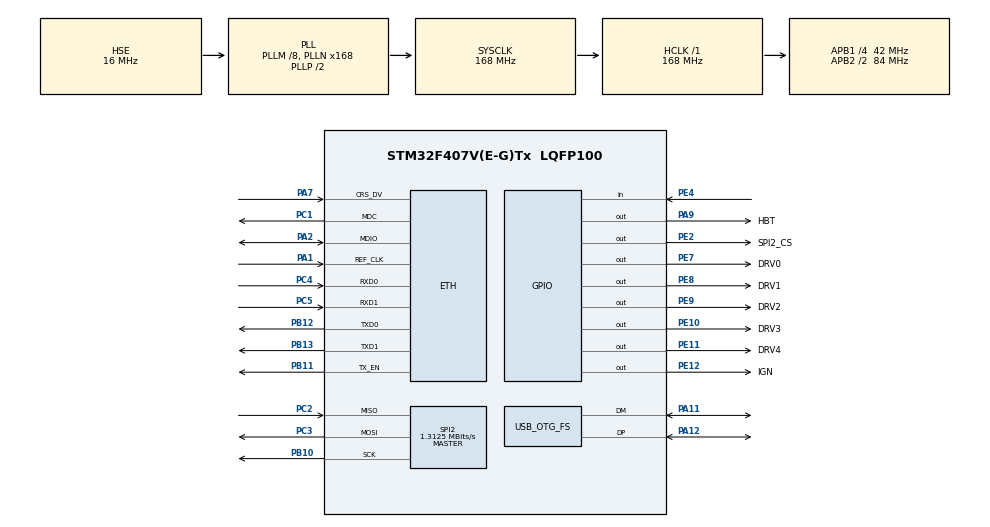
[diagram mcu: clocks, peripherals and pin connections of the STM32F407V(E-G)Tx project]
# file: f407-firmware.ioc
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ETH.MediaInterface=HAL_ETH_RMII_MODE
FREERTOS.Tasks01=defaultTask,24,256,StartDefaultTask,Default,NULL,Dynamic,NULL,NULL;serverTask,32,2048,StartServerTask,Default,NULL,Dynamic,NULL,NULL;cmdHandlingTask,41,256,StartCmdHandlingTask,Default,NULL,Dynamic,NULL,NULL;collectionTask,48,256,StartCollectionTask,Default,NULL,Dynamic,NULL,NULL
FREERTOS.configMINIMAL_STACK_SIZE=256
FREERTOS.configTOTAL_HEAP_SIZE=32768
FREERTOS.configUSE_NEWLIB_REENTRANT=1
LWIP.BSP.number=1
LWIP.CHECKSUM_BY_HARDWARE=1
LWIP.IP_ADDRESS=192.168.000.122
LWIP.LWIP_DHCP=0
LWIP.LWIP_DISABLE_TCP_SANITY_CHECKS=1
LWIP.LWIP_STATS=1
LWIP.LWIP_STATS_DISPLAY=1
LWIP.MEMP_OVERFLOW_CHECK=1
LWIP.MEM_OVERFLOW_CHECK=1
LWIP.MEM_SANITY_CHECK=1
LWIP.MEM_SIZE=10*1024
LWIP.MEM_STATS=1
LWIP.NETMASK_ADDRESS=255.255.255.000
LWIP.PBUF_POOL_BUFSIZE=1528
LWIP.TCP_MSS=1460
LWIP.TCP_SND_BUF=5840
LWIP.TCP_SND_QUEUELEN=16
LWIP.Version=v2.1.2_Cube
LWIP0.BSP.STBoard=false
LWIP0.BSP.api=BSP_COMPONENT_DRIVER
LWIP0.BSP.component=LAN8742
LWIP0.BSP.instance=LAN8742
LWIP0.BSP.name=Driver_PHY
LWIP0.BSP.semaphore=S_LAN8742
LWIP0.BSP.solution=LAN8742
Mcu.Family=STM32F4
Mcu.Name=STM32F407V(E-G)Tx
Mcu.Package=LQFP100
NVIC.ETH_IRQn=true\:5\:0\:false\:false\:true\:true\:false\:true\:true
NVIC.OTG_FS_IRQn=true\:5\:0\:false\:false\:true\:true\:false\:true\:true
NVIC.PriorityGroup=NVIC_PRIORITYGROUP_4
NVIC.TIM7_IRQn=true\:15\:0\:false\:false\:true\:false\:false\:true\:true
NVIC.TIM8_TRG_COM_TIM14_IRQn=true\:5\:0\:false\:false\:true\:true\:true\:true\:true
NVIC.TIM8_UP_TIM13_IRQn=true\:8\:0\:true\:false\:true\:true\:true\:true\:true
NVIC.TimeBase=TIM7_IRQn
NVIC.TimeBaseIP=TIM7
PA1.Mode=RMII
PA1.Signal=ETH_REF_CLK
PA11.Mode=Device_Only
PA11.Signal=USB_OTG_FS_DM
PA12.Mode=Device_Only
PA12.Signal=USB_OTG_FS_DP
PA13.Mode=Serial_Wire
PA13.Signal=SYS_JTMS-SWDIO
PA14.Mode=Serial_Wire
PA14.Signal=SYS_JTCK-SWCLK
PA2.Mode=RMII
PA2.Signal=ETH_MDIO
PA7.Mode=RMII
PA7.Signal=ETH_CRS_DV
PA9.GPIO_Label=HBT
PA9.Signal=GPIO_Output
PB10.Mode=Full_Duplex_Master
PB10.Signal=SPI2_SCK
PB11.Mode=RMII
PB11.Signal=ETH_TX_EN
PB12.Mode=RMII
PB12.Signal=ETH_TXD0
PB13.Mode=RMII
PB13.Signal=ETH_TXD1
PC1.GPIO_Speed=GPIO_SPEED_FREQ_LOW
PC1.Mode=RMII
PC1.Signal=ETH_MDC
PC14-OSC32_IN.Mode=LSE-External-Oscillator
PC14-OSC32_IN.Signal=RCC_OSC32_IN
PC15-OSC32_OUT.Mode=LSE-External-Oscillator
PC15-OSC32_OUT.Signal=RCC_OSC32_OUT
PC2.Mode=Full_Duplex_Master
PC2.Signal=SPI2_MISO
PC3.Mode=Full_Duplex_Master
PC3.Signal=SPI2_MOSI
PC4.Mode=RMII
PC4.Signal=ETH_RXD0
PC5.Mode=RMII
PC5.Signal=ETH_RXD1
PE10.GPIO_Label=DRV3
PE10.Signal=GPIO_Output
PE11.GPIO_Label=DRV4
PE11.Signal=GPIO_Output
PE12.GPIO_Label=IGN
PE12.Signal=GPIO_Output
PE2.GPIO_Label=SPI2_CS
PE2.Signal=GPIO_Output
PE4.Signal=GPIO_Input
PE7.GPIO_Label=DRV0
PE7.Signal=GPIO_Output
PE8.GPIO_Label=DRV1
PE8.Signal=GPIO_Output
PE9.GPIO_Label=DRV2
PE9.Signal=GPIO_Output
PH0-OSC_IN.Mode=HSE-External-Oscillator
PH0-OSC_IN.Signal=RCC_OSC_IN
PH1-OSC_OUT.Mode=HSE-External-Oscillator
PH1-OSC_OUT.Signal=RCC_OSC_OUT
ProjectManager.HeapSize=0x200
ProjectManager.StackSize=0x400
ProjectManager.TargetToolchain=STM32CubeIDE
RCC.48MHZClocksFreq_Value=48000000
RCC.AHBFreq_Value=168000000
RCC.APB1CLKDivider=RCC_HCLK_DIV4
RCC.APB1Freq_Value=42000000
RCC.APB1TimFreq_Value=84000000
RCC.APB2CLKDivider=RCC_HCLK_DIV2
RCC.APB2Freq_Value=84000000
RCC.APB2TimFreq_Value=168000000
RCC.CortexFreq_Value=168000000
RCC.HCLKFreq_Value=168000000
RCC.HSE_VALUE=16000000
RCC.HSI_VALUE=16000000
RCC.PLLM=8
RCC.PLLN=168
RCC.PLLQ=7
RCC.SYSCLKFreq_VALUE=168000000
RCC.SYSCLKSource=RCC_SYSCLKSOURCE_PLLCLK
RCC.VCOOutputFreq_Value=336000000
SPI2.BaudRatePrescaler=SPI_BAUDRATEPRESCALER_32
SPI2.CalculateBaudRate=1.3125 MBits/s
SPI2.Direction=SPI_DIRECTION_2LINES
SPI2.Mode=SPI_MODE_MASTER
SPI2.VirtualType=VM_MASTER
TIM13.Period=10000-1
TIM13.Prescaler=8400-1
TIM14.Period=20-1
TIM14.Prescaler=840-1
USB_DEVICE.CLASS_NAME_FS=CDC
USB_DEVICE.VirtualMode-CDC_FS=Cdc
USB_DEVICE.VirtualModeFS=Cdc_FS
USB_OTG_FS.VirtualMode=Device_Only
VP_FREERTOS_VS_CMSIS_V2.Mode=CMSIS_V2
VP_LWIP_VS_Enabled.Mode=Enabled
VP_RNG_VS_RNG.Mode=RNG_Activate
VP_SYS_VS_tim7.Mode=TIM7
VP_TIM13_VS_ClockSourceINT.Mode=Enable_Timer
VP_TIM14_VS_ClockSourceINT.Mode=Enable_Timer
VP_USB_DEVICE_VS_USB_DEVICE_CDC_FS.Mode=CDC_FS
board=custom

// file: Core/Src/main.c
/* USER CODE BEGIN Header */
/**
  ******************************************************************************
  * @file           : main.c
  * @brief          : Main program body
  ******************************************************************************
  * @attention
  *
  * Copyright (c) 2026 STMicroelectronics.
  * All rights reserved.
  *
  * This software is licensed under terms that can be found in the LICENSE file
  * in the root directory of this software component.
  * If no LICENSE file comes with this software, it is provided AS-IS.
  *
  ******************************************************************************
  */
/* USER CODE END Header */
#include "main.h"
#include "cmsis_os.h"
#include "lwip.h"
#include "rng.h"
#include "spi.h"
#include "tim.h"
#include "usb_device.h"
#include "gpio.h"

/* USER CODE BEGIN Includes */
#include "cJSON.h"
#include "interface.h"
#include <stdio.h>
#include <stdlib.h>
#include <string.h>
#include "usbd_cdc_if.h"
/* USER CODE END Includes */

/* USER CODE BEGIN PV */
uint8_t TxBuffer[300];
static char config_str[4000];
int counter;

/* USER CODE END PV */

void SystemClock_Config(void);
void MX_FREERTOS_Init(void);

/* USER CODE BEGIN 0 */
int port = 0;
int sampling_freq_ign = 0;
int sampling_freq_standby = 0;
char *console_filename = NULL;
char cmd_password[MAX_PWD_LENGTH];
char *data_filename = NULL;
char *cmd_buffer = NULL;
char host_ip[MAX_IP_LEN];
osEventFlagsId_t command_event;
int sensor_count = MAX_SENSOR_COUNT;
int driver_count = MAX_DRIVER_COUNT;
int monitor_count = MAX_MONITOR_COUNT;
driver driver_list[MAX_DRIVER_COUNT];
driver ignition;
monitor monitor_list[MAX_MONITOR_COUNT];
sensor sensor_list[MAX_SENSOR_COUNT];
/* USER CODE END 0 */

int main(void)
{

  /* MCU Configuration--------------------------------------------------------*/

  /* Reset of all peripherals, Initializes the Flash interface and the Systick. */
  HAL_Init();

  /* Configure the system clock */
  SystemClock_Config();

  /* Initialize all configured peripherals */
  MX_GPIO_Init();
  MX_SPI2_Init();
  MX_RNG_Init();
  MX_TIM13_Init();
  MX_TIM14_Init();
  /* USER CODE BEGIN 2 */
  /*Mount the sd card to read information from it*/
  HAL_Delay(1);
  //mount_sd_interface(&FatFs)
  /*parse the configuration file to get the available sensors and drivers */
   read_file_interface("config.json", config_str,4000);
   parse_config_interface(config_str, driver_list, sensor_list, monitor_list, &ignition, host_ip, cmd_password,
 		  	  	  	  &port, &sampling_freq_ign, &sampling_freq_standby, &driver_count, &sensor_count, &monitor_count);
  /*
  fres = (f_mount(&FatFs, "", 1));
  	if (fres != FR_OK){
  		sprintf((char *)txBuffer, "f_mount error (%i)\r\n", fres);
  		CDC_Transmit_FS(txBuffer,strlen((char *)txBuffer));
  	}else{
  		sprintf((char *)txBuffer, "SD Card Mounted Successfully! \r\n\n");
  		CDC_Transmit_FS(txBuffer, strlen((char *)txBuffer));
  	}
  	fres = f_open(&Fil, "MyTextFile.txt", FA_WRITE | FA_READ | FA_CREATE_ALWAYS);
  	    if(fres != FR_OK)
  	    {
  	      sprintf((char *)txBuffer, "Error! While Creating/Opening A New Text File, Error Code: (%i)\r\n", fres);
  	      CDC_Transmit_FS(txBuffer, strlen((char *)txBuffer));

  	    } else{
  	    	strcpy(RW_Buffer, "Hello! From STM32 To SD Card Over SDIO, Using f_write()\r\n");
  	    	 f_write(&Fil, RW_Buffer, strlen(RW_Buffer), &WWC);
  	    }
  	    f_close(&Fil);
  	    read_file(&config_file, "config.json", config_str, 4000);
  */

  /* USER CODE END 2 */

  /* Init scheduler */
  osKernelInitialize();  /* Call init function for freertos objects (in cmsis_os2.c) */
  MX_FREERTOS_Init();

  /* Start scheduler */
  osKernelStart();

  /* We should never get here as control is now taken by the scheduler */

  /* Infinite loop */
  /* USER CODE BEGIN WHILE */
  while (1)
  {
	  /*
	 HAL_GPIO_WritePin(HBT_GPIO_Port, HBT_Pin, GPIO_PIN_SET);
	 HAL_Delay(500);
	 HAL_GPIO_WritePin(HBT_GPIO_Port, HBT_Pin, GPIO_PIN_RESET);
	 HAL_Delay(500);
	 */
	  /*
	 float lc_voltage = get_sensorval(1, SPI2_CS_Pin);
	 if (counter == 0)
		 CDC_Transmit_FS(txBuffer, sprintf((char *)txBuffer, "%f\r\n",lc_voltage));
	 HAL_Delay(1);
	 counter = (counter+1)%400;
	 */

    /* USER CODE END WHILE */

  }
}

void SystemClock_Config(void)
{
  RCC_OscInitTypeDef RCC_OscInitStruct = {0};
  RCC_ClkInitTypeDef RCC_ClkInitStruct = {0};

  /** Configure the main internal regulator output voltage
  */
  __HAL_RCC_PWR_CLK_ENABLE();
  __HAL_PWR_VOLTAGESCALING_CONFIG(PWR_REGULATOR_VOLTAGE_SCALE1);

  /** Initializes the RCC Oscillators according to the specified parameters
  * in the RCC_OscInitTypeDef structure.
  */
  RCC_OscInitStruct.OscillatorType = RCC_OSCILLATORTYPE_HSE;
  RCC_OscInitStruct.HSEState = RCC_HSE_ON;
  RCC_OscInitStruct.PLL.PLLState = RCC_PLL_ON;
  RCC_OscInitStruct.PLL.PLLSource = RCC_PLLSOURCE_HSE;
  RCC_OscInitStruct.PLL.PLLM = 8;
  RCC_OscInitStruct.PLL.PLLN = 168;
  RCC_OscInitStruct.PLL.PLLP = RCC_PLLP_DIV2;
  RCC_OscInitStruct.PLL.PLLQ = 7;
  if (HAL_RCC_OscConfig(&RCC_OscInitStruct) != HAL_OK)
  {
    Error_Handler();
  }

  /** Initializes the CPU, AHB and APB buses clocks
  */
  RCC_ClkInitStruct.ClockType = RCC_CLOCKTYPE_HCLK|RCC_CLOCKTYPE_SYSCLK
                              |RCC_CLOCKTYPE_PCLK1|RCC_CLOCKTYPE_PCLK2;
  RCC_ClkInitStruct.SYSCLKSource = RCC_SYSCLKSOURCE_PLLCLK;
  RCC_ClkInitStruct.AHBCLKDivider = RCC_SYSCLK_DIV1;
  RCC_ClkInitStruct.APB1CLKDivider = RCC_HCLK_DIV4;
  RCC_ClkInitStruct.APB2CLKDivider = RCC_HCLK_DIV2;

  if (HAL_RCC_ClockConfig(&RCC_ClkInitStruct, FLASH_LATENCY_5) != HAL_OK)
  {
    Error_Handler();
  }
}

/* USER CODE BEGIN 4 */
void print_buffer(char *buffer, int buf_len){
	CDC_Transmit_FS((uint8_t *)buffer,buf_len);
	return;
}

/* USER CODE END 4 */

void Error_Handler(void)
{
  __disable_irq();
  while (1)
  {
  }
}

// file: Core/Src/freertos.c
/* USER CODE BEGIN Header */
/**
  ******************************************************************************
  * File Name          : freertos.c
  * Description        : Code for freertos applications
  ******************************************************************************
  * @attention
  *
  * Copyright (c) 2026 STMicroelectronics.
  * All rights reserved.
  *
  * This software is licensed under terms that can be found in the LICENSE file
  * in the root directory of this software component.
  * If no LICENSE file comes with this software, it is provided AS-IS.
  *
  ******************************************************************************
  */
/* USER CODE END Header */

#include "FreeRTOS.h"
#include "task.h"
#include "main.h"
#include "cmsis_os.h"

/* USER CODE BEGIN Includes */
#include "mongoose.h"
#include "lwip.h"
#include "interface.h"
#include "tim.h"
#include "usbd_cdc_if.h"
#include "lwip/netif.h"
#include "lwip/ip4_addr.h"
#include "lan8742.h"
/* USER CODE END Includes */

/* USER CODE BEGIN PTD */
typedef struct{
	char cmd_buf[200];
	uint8_t cmd_idx;
} CMDQUEUE_OBJ_T;
/* USER CODE END PTD */

/* USER CODE BEGIN PD */
#define MAX_CMD_BACKLOG 10
#define FIRST_BUF_READY (1 << 0)
#define SECOND_BUF_READY (1 << 1)
#define SAMPLE_NOW (1 << 2)
#define SEND_NOW (1 << 7)

/* USER CODE END PD */

/* USER CODE BEGIN Variables */
uint8_t current_cmd_idx;
static char TxBuffer[300];
static char sensor_data_str[4000];
//Ping-pong buffer for data to write to sd
float sensor_vals[2*MAX_SENSOR_COUNT];
int driver_states[MAX_DRIVER_COUNT];
//the snapshot of sensor vals to send to mission control
//pointer to the 'last filled buffer'
float *filled_buffer;
float vals_to_send[MAX_SENSOR_COUNT];
int driver_states_to_send[MAX_DRIVER_COUNT];

osMessageQueueId_t cmdMessageQueueHandle;
const osMessageQueueAttr_t cmdMessageQueue_attributes = {
  .name = "cmdMessageQueue"
};
/* USER CODE END Variables */
/* Definitions for defaultTask */
osThreadId_t defaultTaskHandle;
const osThreadAttr_t defaultTask_attributes = {
  .name = "defaultTask",
  .stack_size = 256 * 4,
  .priority = (osPriority_t) osPriorityNormal,
};
/* Definitions for serverTask */
osThreadId_t serverTaskHandle;
const osThreadAttr_t serverTask_attributes = {
  .name = "serverTask",
  .stack_size = 2048 * 4,
  .priority = (osPriority_t) osPriorityAboveNormal,
};
/* Definitions for cmdHandlingTask */
osThreadId_t cmdHandlingTaskHandle;
const osThreadAttr_t cmdHandlingTask_attributes = {
  .name = "cmdHandlingTask",
  .stack_size = 256 * 4,
  .priority = (osPriority_t) osPriorityHigh,
};
/* Definitions for collectionTask */
osThreadId_t collectionTaskHandle;
const osThreadAttr_t collectionTask_attributes = {
  .name = "collectionTask",
  .stack_size = 256 * 4,
  .priority = (osPriority_t) osPriorityHigh1,
};

/* USER CODE BEGIN FunctionPrototypes */
void fn(struct mg_connection *c, int ev, void *ev_data);
void mg_random(void *buf, size_t len);
void print_lwip_stats(void);
void print_link_debug(void);

/* USER CODE END FunctionPrototypes */

void StartDefaultTask(void *argument);
void StartServerTask(void *argument);
void StartCmdHandlingTask(void *argument);
void StartCollectionTask(void *argument);

extern void MX_LWIP_Init(void);
extern void MX_USB_DEVICE_Init(void);
void MX_FREERTOS_Init(void); /* (MISRA C 2004 rule 8.1) */

void MX_FREERTOS_Init(void) {

  /* USER CODE BEGIN RTOS_QUEUES */
	 cmdMessageQueueHandle = osMessageQueueNew (MAX_CMD_BACKLOG, sizeof(CMDQUEUE_OBJ_T), &cmdMessageQueue_attributes);
  /* USER CODE END RTOS_QUEUES */

  /* Create the thread(s) */
  /* creation of defaultTask */
  defaultTaskHandle = osThreadNew(StartDefaultTask, NULL, &defaultTask_attributes);

  /* creation of serverTask */
  //serverTaskHandle = osThreadNew(StartServerTask, NULL, &serverTask_attributes);

  /* creation of cmdHandlingTask */
  //cmdHandlingTaskHandle = osThreadNew(StartCmdHandlingTask, NULL, &cmdHandlingTask_attributes);

  /* creation of collectionTask */
  //collectionTaskHandle = osThreadNew(StartCollectionTask, NULL, &collectionTask_attributes);

  /* USER CODE BEGIN RTOS_THREADS */
  //debuggingTaskHandle = osThreadNew(StartDebuggingTask, NULL, &debuggingTask_attributes);
  /* USER CODE END RTOS_THREADS */

}

void StartDefaultTask(void *argument)
{
  /* init code for LWIP */
  MX_LWIP_Init();

  /* init code for USB_DEVICE */
  MX_USB_DEVICE_Init();
  /* USER CODE BEGIN StartDefaultTask */
  extern struct netif gnetif;
   while(ip4_addr_isany_val(*netif_ip4_addr(&gnetif)))
  	  osDelay(200);
    MG_INFO(("READY, IP: %s", ip4addr_ntoa(netif_ip4_addr(&gnetif))));
    serverTaskHandle = osThreadNew(StartServerTask, NULL, &serverTask_attributes);
     cmdHandlingTaskHandle = osThreadNew(StartCmdHandlingTask, NULL, &cmdHandlingTask_attributes);
    collectionTaskHandle = osThreadNew(StartCollectionTask, NULL, &collectionTask_attributes);
    	HAL_TIM_Base_Start_IT(&htim14);
       HAL_TIM_Base_Start_IT(&htim13);
    osThreadExit();
  /* Infinite loop */
  for(;;)
  {
    osDelay(1);
  }
  /* USER CODE END StartDefaultTask */
}

void StartServerTask(void *argument)
{
  /* USER CODE BEGIN StartServerTask */
	float *valid_buffer;
	uint32_t sending_flag;
	 struct mg_mgr mgr;
	 mg_mgr_init(&mgr);
	mg_http_listen(&mgr, "http://192.168.0.122:8000", fn, NULL);  // Create HTTP listener
  /* Infinite loop */
  for(;;)
  {
	mg_mgr_poll(&mgr, 10);
	//package the data in json for the websocket and send at each sending interval
		  sending_flag = osThreadFlagsWait(SEND_NOW, osFlagsWaitAny, 0);
		  if (sending_flag == SEND_NOW){
			  valid_buffer = filled_buffer;

			  //ensure the buffer has been filled
			  if (valid_buffer != NULL){
				  memcpy(vals_to_send, filled_buffer, sensor_count*sizeof(float));
				  memcpy(driver_states_to_send, driver_states, driver_count*sizeof(float));
				  int msg_len = sensor_message_interface(sensor_data_str, sizeof(sensor_data_str),vals_to_send,driver_states_to_send);
				  if (msg_len > 0 && msg_len < sizeof(sensor_data_str)){
					  for (struct mg_connection *client = mgr.conns; client != NULL; client = client->next){
						  if (client->data[0] == 'W'){
							  sprintf(TxBuffer,"sent\r\n");
							  //print_buffer(TxBuffer, strlen(TxBuffer));

							  mg_ws_send(client, (void *)sensor_data_str,strlen(sensor_data_str), WEBSOCKET_OP_TEXT);
						  }
					  }
				  }
			  }
		 }
    osDelay(1);
  }
  /* USER CODE END StartServerTask */
}

void StartCmdHandlingTask(void *argument)
{
  /* USER CODE BEGIN StartCmdHandlingTask */
	int ignition_flag;
	int shutdown_flag;
	int stop_ignition_flag;
	int actuation_flag;
	int driver_id;
	int direction;
	CMDQUEUE_OBJ_T cmd;
  /* Infinite loop */
  for(;;)
  {
	  osMessageQueueGet(cmdMessageQueueHandle, &cmd, NULL, osWaitForever);
	  	parse_command_interface(cmd.cmd_buf, &driver_id, &direction, driver_list, &ignition_flag,
	  				  	  	  	  	  	&shutdown_flag, &stop_ignition_flag, &actuation_flag);
	  	/*
	  	if (shutdown_flag == 1){
	  		osThreadFlagsSet(shutdownTaskHandle, SHUTDOWN);
	  	}
	  	*/
	  	if (stop_ignition_flag == 1){
	  		HAL_GPIO_WritePin(ignition.GPIO_Port, ignition.GPIO_Pin, 0);
	  	}
	  	else if (ignition_flag == 1){
	  		//ignition_sequence();
	  		HAL_GPIO_WritePin(ignition.GPIO_Port, ignition.GPIO_Pin, 1);
	  	}
	  	else if (actuation_flag == 1){
	  		HAL_GPIO_WritePin(driver_list[driver_id].GPIO_Port, driver_list[driver_id].GPIO_Pin, direction);
	  		sprintf(TxBuffer, "Actuating Driver %u. Direction: %d", driver_list[driver_id].GPIO_Pin, direction);
	  		HAL_GPIO_TogglePin(GPIOA, HBT_Pin);
	  		print_buffer(TxBuffer, strlen(TxBuffer));

	  		driver_states[driver_id] = (direction == 1) ? 1 : 0;
	  	}
    osDelay(1);
  /* USER CODE END StartCmdHandlingTask */
}
}
void StartCollectionTask(void *argument)
{
  /* USER CODE BEGIN StartCollectionTask */
	int sample_count = 0;
  /* Infinite loop */
  for(;;)
  {

	osThreadFlagsWait(SAMPLE_NOW, osFlagsWaitAny, osWaitForever);
	sensor_vals[sample_count] = get_sensorval_interface(&sensor_list[sample_count%sensor_count]);
	sample_count = (sample_count + 1) % (sensor_count*2);
	if (sample_count == sensor_count){
	 //osThreadFlagsSet(processingTaskHandle, FIRST_BUF_READY);
	 filled_buffer = &sensor_vals[0];
	}
	 //second buffer filled
	 else if (sample_count == 0){
		 //osThreadFlagsSet(processingTaskHandle, SECOND_BUF_READY);
		 filled_buffer = &sensor_vals[sensor_count];
	 }
    osDelay(1);
  }
  /* USER CODE END StartCollectionTask */
}

/* USER CODE BEGIN Application */
void fn(struct mg_connection *c, int ev, void *ev_data) {

    if (ev == MG_EV_HTTP_MSG){
  	  struct mg_http_message *hm = (struct mg_http_message *) ev_data;
  	  if (mg_match(hm->uri, mg_str("/websocket"), NULL)) {
  		// Upgrade to websocket. From now on, a connection is a full-duplex
  		// Websocket connection, which will receive MG_EV_WS_MSG events.
  		mg_ws_upgrade(c, hm, NULL);
  		//mark connection
  		c->data[0] = 'W';

  	  }
    }
    else if (ev == MG_EV_WS_MSG) {
        // Got websocket frame. Received data is wm->data.
  	  CMDQUEUE_OBJ_T cmd;
        struct mg_ws_message *wm = (struct mg_ws_message *) ev_data;
        size_t len = wm->data.len;
       // mg_ws_send(c, wm->data.buf, wm->data.len, WEBSOCKET_OP_TEXT);
		 memcpy(cmd.cmd_buf, wm->data.buf, len);
		 cmd.cmd_buf[len] = '\0';
        cmd.cmd_idx = current_cmd_idx;
        //current_cmd_idx++;
        if (current_cmd_idx > MAX_CMD_BACKLOG){
      	  //Figure out how to handle this!!
      	  //osMessageQueueReset(cmdMessageQueueHandle);
        }
        osMessageQueuePut(cmdMessageQueueHandle, &cmd,0U, 0U);

    }
  }

  void mg_random(void *buf, size_t len) {  // Use on-board RNG
    extern RNG_HandleTypeDef hrng;
    for (size_t n = 0; n < len; n += sizeof(uint32_t)) {
      uint32_t r;
      HAL_RNG_GenerateRandomNumber(&hrng, &r);
      memcpy((char *) buf + n, &r, n + sizeof(r) > len ? len - n : sizeof(r));
    }
  }
  void HAL_TIM_PeriodElapsedCallback(TIM_HandleTypeDef *htim)
  {
    /* USER CODE BEGIN Callback 0 */

    /* USER CODE END Callback 0 */
    if (htim->Instance == TIM7)
    {
      HAL_IncTick();
    }
    /* USER CODE BEGIN Callback 1 */

    if (htim->Instance == TIM14){
  	  osThreadFlagsSet(collectionTaskHandle, SAMPLE_NOW);
    }
    if (htim->Instance == TIM13){
  	  osThreadFlagsSet(serverTaskHandle, SEND_NOW);
    }

    /* USER CODE END Callback 1 */
  }

 void print_link_debug(void) {
	 extern struct netif gnetif;
	 extern lan8742_Object_t LAN8742;
      char buf[256];
      int32_t phy = LAN8742_GetLinkState(&LAN8742);

      const char *phy_str = "UNKNOWN";
      switch (phy) {
        case LAN8742_STATUS_LINK_DOWN:           phy_str = "LINK_DOWN"; break;
        case LAN8742_STATUS_100MBITS_FULLDUPLEX: phy_str = "100FD";     break;
        case LAN8742_STATUS_100MBITS_HALFDUPLEX: phy_str = "100HD";     break;
        case LAN8742_STATUS_10MBITS_FULLDUPLEX:  phy_str = "10FD";      break;
        case LAN8742_STATUS_10MBITS_HALFDUPLEX:  phy_str = "10HD";      break;
        default: break;
      }

      snprintf(buf, sizeof(buf),
               "PHY=%ld (%s), netif_link=%d, netif_up=%d, ip=%s\r\n",
               (long) phy,
               phy_str,
               netif_is_link_up(&gnetif),
               netif_is_up(&gnetif),
               ip4addr_ntoa(netif_ip4_addr(&gnetif)));

      CDC_Transmit_FS((uint8_t *) buf, strlen(buf));
  }
/* USER CODE END Application */
